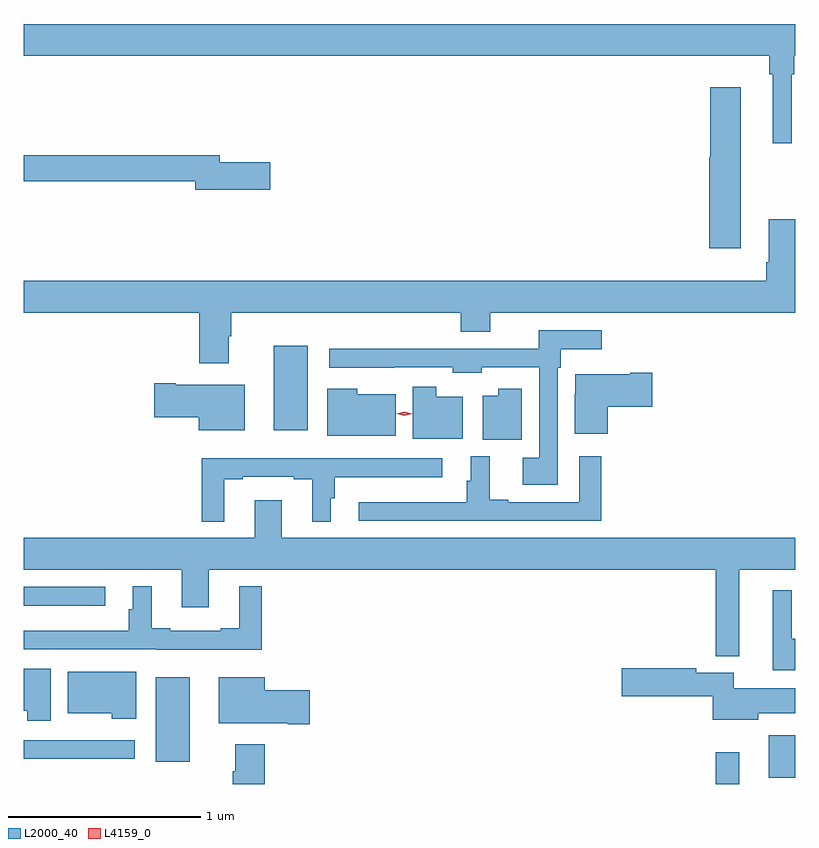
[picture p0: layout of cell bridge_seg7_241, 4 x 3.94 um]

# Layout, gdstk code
import gdstk
lib = gdstk.Library(unit=1e-6, precision=1e-09)
def R(c, l, rs):  # rectangles x0, y0, x1, y1
    for r in rs: c.add(gdstk.rectangle(r[:2], r[2:], *l))
def P(c, l, *ps):  # polygons
    for p in ps: c.add(gdstk.Polygon(p, *l))
L2000_40 = (2000, 40)
L4159_0 = (4159, 0)

bridge_seg7_241 = lib.new_cell('bridge_seg7_241')
R(bridge_seg7_241, L2000_40, [(315.45,1022.149,315.571,1022.314), (315.725,1022.181,315.863,1022.401), (312.548,1022.264,312.724,1022.701), (311.863,1023.074,312.286,1023.171), (313.16,1023.983,313.336,1024.42)])
P(bridge_seg7_241, L2000_40, [(315.843,1025.828),(315.857,1025.828),(315.857,1025.924),(315.863,1025.924),(315.863,1026.088),(311.863,1026.088),(311.863,1025.924),(315.727,1025.924),(315.727,1025.828),(315.746,1025.828),(315.746,1025.469),(315.843,1025.469)],
  [(315.58,1025.761),(315.422,1025.761),(315.422,1025.397),(315.416,1025.397),(315.416,1024.926),(315.58,1024.926)],
  [(313.141,1025.372),(312.88,1025.372),(312.88,1025.408),(311.863,1025.408),(311.863,1025.272),(312.752,1025.272),(312.752,1025.23),(313.141,1025.23)],
  [(312.925,1024.469),(312.938,1024.469),(312.938,1024.592),(314.129,1024.592),(314.129,1024.493),(314.281,1024.493),(314.281,1024.592),(315.863,1024.592),(315.863,1025.077),(315.725,1025.077),(315.725,1024.852),(315.713,1024.852),(315.713,1024.756),(311.863,1024.756),(311.863,1024.592),(312.773,1024.592),(312.773,1024.329),(312.925,1024.329)],
  [(314.631,1024.307),(314.648,1024.307),(314.648,1024.403),(314.86,1024.403),(314.86,1024.5),(314.533,1024.5),(314.533,1024.406),(313.446,1024.406),(313.446,1024.307),(313.784,1024.307),(313.784,1024.308),(314.088,1024.308),(314.088,1024.28),(314.238,1024.28),(314.238,1024.308),(314.535,1024.308),(314.535,1023.841),(314.451,1023.841),(314.451,1023.701),(314.631,1023.701)],
  [(314.89,1024.103),(315.121,1024.103),(315.121,1024.281),(315.008,1024.281),(315.008,1024.272),(314.721,1024.272),(314.721,1024.169),(314.72,1024.169),(314.72,1023.965),(314.89,1023.965)],
  [(313.009,1024.219),(312.652,1024.219),(312.652,1024.227),(312.54,1024.227),(312.54,1024.049),(312.77,1024.049),(312.77,1023.983),(313.009,1023.983)],
  [(314.14,1024.156),(314.002,1024.156),(314.002,1024.207),(313.88,1024.207),(313.88,1023.938),(314.14,1023.938)],
  [(314.446,1024.198),(314.324,1024.198),(314.324,1024.162),(314.243,1024.162),(314.243,1023.932),(314.446,1023.932)],
  [(313.792,1024.168),(313.593,1024.168),(313.593,1024.198),(313.436,1024.198),(313.436,1023.953),(313.792,1023.953)],
  [(314.858,1023.847),(314.742,1023.847),(314.742,1023.609),(314.374,1023.609),(314.374,1023.622),(314.278,1023.622),(314.278,1023.847),(314.18,1023.847),(314.18,1023.72),(314.161,1023.72),(314.161,1023.61),(313.599,1023.61),(313.599,1023.513),(314.858,1023.513)],
  [(312.904,1023.729),(313,1023.729),(313,1023.741),(313.262,1023.741),(313.262,1023.729),(313.358,1023.729),(313.358,1023.509),(313.456,1023.509),(313.456,1023.63),(313.475,1023.63),(313.475,1023.74),(314.032,1023.74),(314.032,1023.837),(313.332,1023.837),(313.332,1023.838),(312.787,1023.838),(312.787,1023.509),(312.904,1023.509)],
  [(315.571,1023.26),(315.863,1023.26),(315.863,1023.424),(313.201,1023.424),(313.201,1023.619),(313.061,1023.619),(313.061,1023.424),(311.863,1023.424),(311.863,1023.26),(312.683,1023.26),(312.683,1023.066),(312.823,1023.066),(312.823,1023.26),(315.45,1023.26),(315.45,1022.811),(315.571,1022.811)],
  [(313.097,1023.175),(312.98,1023.175),(312.98,1022.956),(312.884,1022.956),(312.884,1022.943),(312.622,1022.943),(312.622,1022.956),(312.526,1022.956),(312.526,1023.175),(312.428,1023.175),(312.428,1023.054),(312.409,1023.054),(312.409,1022.944),(311.863,1022.944),(311.863,1022.847),(312.552,1022.847),(312.552,1022.846),(313.097,1022.846)],
  [(315.863,1022.902),(315.844,1022.902),(315.844,1023.154),(315.746,1023.154),(315.746,1022.738),(315.863,1022.738)],
  [(315.67,1022.515),(315.863,1022.515),(315.863,1022.644),(315.544,1022.644),(315.544,1022.725),(315.348,1022.725),(315.348,1022.75),(314.964,1022.75),(314.964,1022.603),(315.434,1022.603),(315.434,1022.483),(315.67,1022.483)],
  [(312.004,1022.746),(311.863,1022.746),(311.863,1022.528),(311.882,1022.528),(311.882,1022.478),(312.004,1022.478)],
  [(312.448,1022.731),(312.092,1022.731),(312.092,1022.516),(312.319,1022.516),(312.319,1022.486),(312.448,1022.486)],
  [(313.345,1022.636),(313.114,1022.636),(313.114,1022.701),(312.875,1022.701),(312.875,1022.465),(313.232,1022.465),(313.232,1022.458),(313.345,1022.458)],
  [(312.439,1022.377),(312.1,1022.377),(312.1,1022.376),(311.863,1022.376),(311.863,1022.279),(312.439,1022.279)],
  [(313.112,1022.356),(312.959,1022.356),(312.959,1022.216),(312.947,1022.216),(312.947,1022.149),(313.112,1022.149)])
P(bridge_seg7_241, L4159_0, [(313.836,1024.058),(313.796,1024.067),(313.796,1024.068),(313.796,1024.068),(313.836,1024.078),(313.876,1024.069),(313.876,1024.068),(313.876,1024.068)])

lib.write_gds('bridge_seg7_241.gds')
